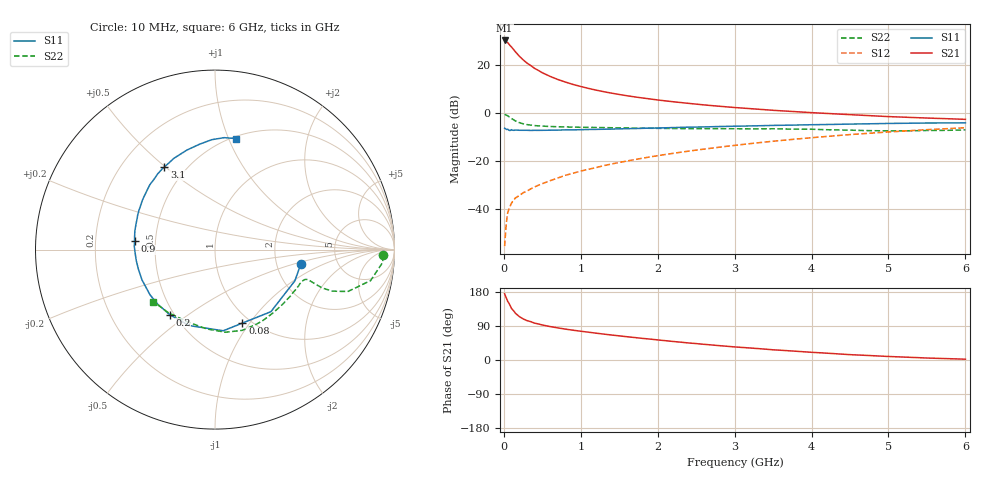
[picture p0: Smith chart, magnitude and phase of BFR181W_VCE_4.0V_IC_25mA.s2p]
! (c) 2017  Infineon Technologies AG, Munich
! Infineon Technologies  Discrete & RF Semiconductors
! BFR181W
! VCE =  4.0 V,  IC =  25 mA
! Common Emitter S-Parameters:  Jan 2017
# GHz  S  MA  R  50
!  f  S11  S21  S12  S22
! GHz  MAG  ANG  MAG  ANG  MAG  ANG  MAG  ANG
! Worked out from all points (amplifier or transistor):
!   77 points, 10 MHz to 6 GHz, reference 50 ohm
!   highest |S21| = 30.3 dB at 10 MHz (marker M1)
!   |S21| within 3 dB of that: start of sweep to 106.7 MHz
!   unconditionally stable (mu >= 1): 385.6 MHz to 2.572 GHz
!   at 130 MHz: K = 0.55, MSG = 31.2 dB, |S12| = -36.1 dB
!   at 2.2 GHz: K = 1.05, MAG = 9.3 dB, |S12| = -16.7 dB
!   at 6 GHz: K = 0.90, MSG = 1.8 dB, |S12| = -6.0 dB
!   S11 on the Smith chart (normalised r, x): 10 MHz: 2.75, -0.57; 80 MHz: 0.91, -0.92; 200 MHz: 0.47, -0.43; 900 MHz: 0.38, +0.04; 3.1 GHz: 0.38, +0.50; 6 GHz: 0.52, +1.06
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0.01  0.4852 -9.4  32.81 175.1  0.0017 88.7  0.9374 -2.0
0.02  0.4778 -21.4  32.35 169.2  0.0028 81.6  0.9367 -4.4
0.05  0.4655 -48.0  29.66 154.8  0.0084 74.6  0.8837 -11.3
0.08  0.437 -69.6  25.86 144.4  0.0114 67.5  0.8171 -14.9
0.1  0.4545 -84.2  23.93 135.8  0.0134 64.5  0.7747 -17.6
0.15  0.447 -108.8  19.11 123.4  0.0172 60.4  0.6919 -19.5
0.2  0.4417 -124.8  15.51 114.8  0.0192 60.6  0.6378 -19.7
0.25  0.4409 -136.6  12.99 108.6  0.022 60.2  0.6034 -19.2
0.3  0.4411 -145.3  11.11 104.0  0.0239 61.5  0.5793 -18.7
0.4  0.4403 -157.4  8.601 97.3  0.0291 65.6  0.553 -18.1
0.5  0.4406 -165.6  6.968 92.4  0.0341 67.9  0.5386 -18.0
0.6  0.4429 -172.0  5.867 88.3  0.0392 69.1  0.5296 -18.3
0.7  0.4451 -177.3  5.059 84.8  0.0447 72.5  0.5227 -18.9
0.9  0.4508 174.1  3.976 78.6  0.0562 74.1  0.5141 -20.9
1.1  0.4582 167.1  3.291 73.4  0.068 76.4  0.508 -23.4
1.3  0.4637 160.9  2.807 68.3  0.081 77.6  0.5018 -26.3
1.5  0.4724 155.6  2.457 63.7  0.0942 78.0  0.4954 -29.5
2.1  0.4972 141.2  1.81 51.0  0.1382 77.2  0.482 -41.1
3.1  0.5397 121.5  1.281 33.1  0.2231 71.5  0.4739 -62.9
4.1  0.5789 104.2  1.009 19.2  0.3186 62.3  0.4582 -85.3
5.1  0.6147 90.4  0.839 8.5  0.4161 51.0  0.4293 -114.1
6  0.6295 79.4  0.746 2.1  0.4984 40.0  0.4491 -139.9
